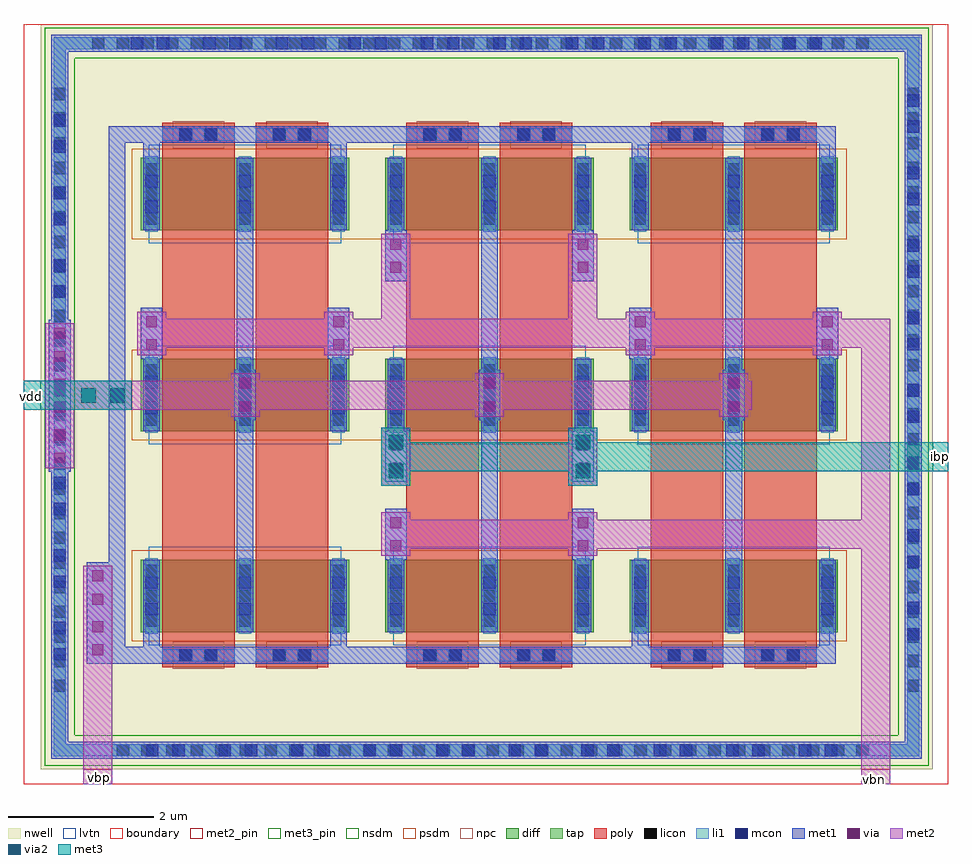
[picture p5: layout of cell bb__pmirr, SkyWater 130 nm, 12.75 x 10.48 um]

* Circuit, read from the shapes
.subckt bb__pmirr ibp vbn vbp vdd
XM1 vdd vbp vbp vdd sky130_fd_pr__pfet_01v8_lvt w=1 l=1 m=8
XM2 vdd vbp vbn vdd sky130_fd_pr__pfet_01v8_lvt w=1 l=1 m=8
XM3 vdd vbp ibp vdd sky130_fd_pr__pfet_01v8_lvt w=1 l=1 m=2
.ends

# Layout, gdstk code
from math import pi, radians
import gdstk
lib = gdstk.Library(unit=1e-6, precision=1e-09)
def R(c, l, rs):  # rectangles x0, y0, x1, y1
    for r in rs: c.add(gdstk.rectangle(r[:2], r[2:], *l))
def A(c, l, x, y, w, h, nx, ny, dx, dy):  # array of equal rectangles
    R(c, l, [(x+i*dx, y+j*dy, x+i*dx+w, y+j*dy+h) for i in range(nx) for j in range(ny)])
nwell = (64, 20)
diff = (65, 20)
tap = (65, 44)
poly = (66, 20)
licon = (66, 44)
li1 = (67, 20)
mcon = (67, 44)
met1 = (68, 20)
via = (68, 44)
met2_pin = (69, 16)
met2 = (69, 20)
via2 = (69, 44)
met3_pin = (70, 16)
met3 = (70, 20)
nsdm = (93, 44)
psdm = (94, 20)
npc = (95, 20)
lvtn = (125, 44)
boundary = (235, 4)

via__li_m1 = lib.new_cell('via__LI_M1')
R(via__li_m1, li1, [(0.03,0.03,0.56,0.2)])
R(via__li_m1, mcon, [(0.03,0.03,0.2,0.2), (0.39,0.03,0.56,0.2)])
R(via__li_m1, met1, [(0,0,0.59,0.23)])

bbp__m5 = lib.new_cell('bbp__M5')
R(bbp__m5, nwell, [(-0.97,-0.99,0.97,0.82)])
R(bbp__m5, diff, [(-0.79,-0.68,0.79,0.32)])
R(bbp__m5, poly, [(-0.5,-0.81,0.5,0.805)])
A(bbp__m5, licon, -0.73, -0.605, 0.17, 0.17, 1, 3, 0, 0.34)
A(bbp__m5, licon, 0.56, -0.605, 0.17, 0.17, 1, 3, 0, 0.34)
R(bbp__m5, licon, [(-0.255,0.555,-0.085,0.725), (0.085,0.555,0.255,0.725)])
R(bbp__m5, li1, [(-0.73,-0.7,-0.56,0.34), (0.56,-0.7,0.73,0.34), (-0.5,0.555,0.5,0.725)])
R(bbp__m5, mcon, [(-0.73,-0.445,-0.56,-0.275), (0.56,-0.445,0.73,-0.275), (-0.73,-0.085,-0.56,0.085), (0.56,-0.085,0.73,0.085), (-0.265,0.555,-0.095,0.725), (0.095,0.555,0.265,0.725)])
R(bbp__m5, met1, [(-0.76,-0.68,-0.53,0.32), (0.53,-0.68,0.76,0.32), (-0.48,0.525,0.48,0.755)])
R(bbp__m5, psdm, [(-0.915,-0.805,0.915,0.445)])
R(bbp__m5, npc, [(-0.355,0.455,0.355,0.825)])
R(bbp__m5, lvtn, [(-0.68,-0.86,0.68,0.5)])

bbp__guardring_p = lib.new_cell('bbp__Guardring_P')
R(bbp__guardring_p, nwell, [(0.23,0.35,12.53,10.63)])
A(bbp__guardring_p, licon, 1.28, 0.53, 0.17, 0.17, 31, 1, 0.34, 0)
A(bbp__guardring_p, licon, 0.41, 1.42, 0.17, 0.17, 1, 25, 0, 0.34)
A(bbp__guardring_p, licon, 12.18, 1.42, 0.17, 0.17, 1, 25, 0, 0.34)
A(bbp__guardring_p, licon, 0.94, 10.28, 0.17, 0.17, 32, 1, 0.34, 0)
bbp__guardring_p.add(gdstk.FlexPath([(0.41,10.365),(12.265,10.365),(12.265,0.615),(0.495,0.615),(0.495,10.365)], 0.17, ends="flush", simple_path=True, layer=67, datatype=20))  # li1
bbp__guardring_p.add(gdstk.FlexPath([(0.285,10.365),(12.265,10.365),(12.265,0.615),(0.495,0.615),(0.495,10.365)], 0.42, ends="flush", simple_path=True, layer=93, datatype=44))  # nsdm
bbp__guardring_p.add(gdstk.FlexPath([(0.41,10.365),(12.265,10.365),(12.265,0.615),(0.495,0.615),(0.495,10.365)], 0.17, ends="flush", simple_path=True, layer=65, datatype=44))  # tap
bbp__guardring_p.add(gdstk.FlexPath([(0.23,10.365),(12.265,10.365),(12.265,0.615),(0.495,0.615),(0.495,10.365)], 0.53, ends="flush", simple_path=True, layer=64, datatype=20))  # nwell

via__m2_m3 = lib.new_cell('via__M2_M3')
R(via__m2_m3, met2, [(0,0,0.8,0.4)])
R(via__m2_m3, via2, [(0.1,0.1,0.3,0.3), (0.1,0.1,0.3,0.3), (0.5,0.1,0.7,0.3), (0.5,0.1,0.7,0.3)])
R(via__m2_m3, met3, [(0,0,0.8,0.4)])

bbp__m4_nc = lib.new_cell('bbp__M4_nc')
R(bbp__m4_nc, nwell, [(-0.97,-0.99,0.97,0.63)])
R(bbp__m4_nc, diff, [(-0.79,-0.68,0.79,0.32)])
R(bbp__m4_nc, poly, [(-0.5,-0.81,0.5,0.45)])
A(bbp__m4_nc, licon, -0.73, -0.605, 0.17, 0.17, 1, 3, 0, 0.34)
A(bbp__m4_nc, licon, 0.56, -0.605, 0.17, 0.17, 1, 3, 0, 0.34)
R(bbp__m4_nc, li1, [(-0.73,-0.7,-0.56,0.34), (0.56,-0.7,0.73,0.34)])
R(bbp__m4_nc, mcon, [(-0.73,-0.445,-0.56,-0.275), (0.56,-0.445,0.73,-0.275), (-0.73,-0.085,-0.56,0.085), (0.56,-0.085,0.73,0.085)])
R(bbp__m4_nc, met1, [(-0.76,-0.68,-0.53,0.32), (0.53,-0.68,0.76,0.32)])
R(bbp__m4_nc, psdm, [(-0.915,-0.805,0.915,0.445)])
R(bbp__m4_nc, lvtn, [(-0.68,-0.86,0.68,0.5)])

bbp__m4 = lib.new_cell('bbp__M4')
R(bbp__m4, nwell, [(-0.97,-0.99,0.97,0.82)])
R(bbp__m4, diff, [(-0.79,-0.68,0.79,0.32)])
R(bbp__m4, poly, [(-0.5,-0.81,0.5,0.805)])
A(bbp__m4, licon, -0.73, -0.605, 0.17, 0.17, 1, 3, 0, 0.34)
A(bbp__m4, licon, 0.56, -0.605, 0.17, 0.17, 1, 3, 0, 0.34)
R(bbp__m4, licon, [(-0.255,0.555,-0.085,0.725), (0.085,0.555,0.255,0.725)])
R(bbp__m4, li1, [(-0.73,-0.7,-0.56,0.34), (0.56,-0.7,0.73,0.34), (-0.5,0.555,0.5,0.725)])
R(bbp__m4, mcon, [(-0.73,-0.445,-0.56,-0.275), (0.56,-0.445,0.73,-0.275), (-0.73,-0.085,-0.56,0.085), (0.56,-0.085,0.73,0.085), (-0.265,0.555,-0.095,0.725), (0.095,0.555,0.265,0.725)])
R(bbp__m4, met1, [(-0.76,-0.68,-0.53,0.32), (0.53,-0.68,0.76,0.32), (-0.48,0.525,0.48,0.755)])
R(bbp__m4, psdm, [(-0.915,-0.805,0.915,0.445)])
R(bbp__m4, npc, [(-0.355,0.455,0.355,0.825)])
R(bbp__m4, lvtn, [(-0.68,-0.86,0.68,0.5)])

bbp__m6 = lib.new_cell('bbp__M6')
R(bbp__m6, nwell, [(-0.97,-0.99,0.97,0.63)])
R(bbp__m6, diff, [(-0.79,-0.68,0.79,0.32)])
R(bbp__m6, poly, [(-0.5,-0.81,0.5,0.45)])
A(bbp__m6, licon, -0.73, -0.605, 0.17, 0.17, 1, 3, 0, 0.34)
A(bbp__m6, licon, 0.56, -0.605, 0.17, 0.17, 1, 3, 0, 0.34)
R(bbp__m6, li1, [(-0.73,-0.7,-0.56,0.34), (0.56,-0.7,0.73,0.34)])
R(bbp__m6, mcon, [(-0.73,-0.445,-0.56,-0.275), (0.56,-0.445,0.73,-0.275), (-0.73,-0.085,-0.56,0.085), (0.56,-0.085,0.73,0.085)])
R(bbp__m6, met1, [(-0.76,-0.68,-0.53,0.32), (0.53,-0.68,0.76,0.32)])
R(bbp__m6, psdm, [(-0.915,-0.805,0.915,0.445)])
R(bbp__m6, lvtn, [(-0.68,-0.86,0.68,0.5)])

via__m1_m2 = lib.new_cell('via__M1_M2')
R(via__m1_m2, met1, [(0,0.05,0.7,0.35)])
R(via__m1_m2, via, [(0.115,0.125,0.265,0.275), (0.435,0.125,0.585,0.275)])
R(via__m1_m2, met2, [(0.05,0,0.65,0.4)])

bb__pmirr = lib.new_cell('bb__pmirr')
R(bb__pmirr, poly, [(1.905,1.965,2.905,9.12), (3.195,1.965,4.195,9.12), (5.275,1.965,6.275,9.12), (6.565,1.965,7.565,9.12), (8.645,1.965,9.645,9.12), (9.935,1.965,10.935,9.12)])
R(bb__pmirr, met1, [(1.645,1.89,1.875,2.095), (4.225,1.89,4.455,2.095), (8.385,1.89,8.615,2.095), (10.965,1.89,11.195,2.095), (1.645,8.635,1.875,8.84), (4.225,8.635,4.455,8.84), (8.385,8.635,8.615,8.84), (10.965,8.635,11.195,8.84)])
R(bb__pmirr, met2_pin, [(0.82,0,1.22,0.2), (11.545,0,11.945,0.2)])
R(bb__pmirr, met2, [(0.295,4.355,0.695,6.355)])
R(bb__pmirr, met3_pin, [(12.53,4.315,12.745,4.715), (0,5.16,0.23,5.56)])
R(bb__pmirr, met3, [(0,5.16,1.49,5.56)])
A(bb__pmirr, psdm, 1.49, 1.97, 9.86, 1.25, 1, 3, 0, 2.77)
R(bb__pmirr, boundary, [(0,0,12.745,10.48)])
bb__pmirr.add(gdstk.FlexPath([(11.08,8.955),(1.285,8.955)], 0.23, ends="extended", simple_path=True, layer=68, datatype=20))  # met1
bb__pmirr.add(gdstk.FlexPath([(11.08,1.775),(1.285,1.775)], 0.23, ends="extended", simple_path=True, layer=68, datatype=20))  # met1
bb__pmirr.add(gdstk.FlexPath([(0.495,10.215),(12.265,10.215),(12.265,0.465),(0.495,0.465),(0.495,10.215)], 0.23, ends="extended", simple_path=True, layer=68, datatype=20))  # met1
bb__pmirr.add(gdstk.FlexPath([(9.79,8.52),(9.79,2.34)], 0.23, ends="extended", simple_path=True, layer=68, datatype=20))  # met1
bb__pmirr.add(gdstk.FlexPath([(6.42,8.52),(6.42,2.34)], 0.23, ends="extended", simple_path=True, layer=68, datatype=20))  # met1
bb__pmirr.add(gdstk.FlexPath([(3.05,8.52),(3.05,2.34)], 0.23, ends="extended", simple_path=True, layer=68, datatype=20))  # met1
bb__pmirr.add(gdstk.FlexPath([(1.285,8.955),(1.285,1.775)], 0.23, ends="extended", simple_path=True, layer=68, datatype=20))  # met1
bb__pmirr.add(gdstk.FlexPath([(5.13,4.515),(12.545,4.515)], 0.4, ends="extended", simple_path=True, layer=70, datatype=20))  # met3
bb__pmirr.add(gdstk.FlexPath([(11.745,6.215),(1.76,6.215)], 0.4, ends="extended", simple_path=True, layer=69, datatype=20))  # met2
bb__pmirr.add(gdstk.FlexPath([(1.02,2.81),(1.02,0.2)], 0.4, ends="extended", simple_path=True, layer=69, datatype=20))  # met2
bb__pmirr.add(gdstk.FlexPath([(11.745,6.215),(11.745,0.2)], 0.4, ends="extended", simple_path=True, layer=69, datatype=20))  # met2
bb__pmirr.add(gdstk.FlexPath([(7.71,6.215),(7.71,7.385)], 0.4, ends="extended", simple_path=True, layer=69, datatype=20))  # met2
bb__pmirr.add(gdstk.FlexPath([(11.745,3.445),(5.13,3.445)], 0.4, ends="extended", simple_path=True, layer=69, datatype=20))  # met2
bb__pmirr.add(gdstk.FlexPath([(5.13,6.215),(5.13,7.385)], 0.4, ends="extended", simple_path=True, layer=69, datatype=20))  # met2
bb__pmirr.add(gdstk.FlexPath([(0.495,5.36),(9.84,5.36)], 0.4, ends="extended", simple_path=True, layer=69, datatype=20))  # met2
bb__pmirr.add(gdstk.Reference(via__li_m1, (12.38,3.95), rotation=pi/2))
bb__pmirr.add(gdstk.Reference(via__li_m1, (12.38,2.95), rotation=pi/2))
bb__pmirr.add(gdstk.Reference(via__li_m1, (12.38,1.95), rotation=pi/2))
bb__pmirr.add(gdstk.Reference(via__li_m1, (10.655,0.35)))
bb__pmirr.add(gdstk.Reference(via__li_m1, (9.655,0.35)))
bb__pmirr.add(gdstk.Reference(via__li_m1, (8.655,0.35)))
bb__pmirr.add(gdstk.Reference(via__li_m1, (7.655,0.35)))
bb__pmirr.add(gdstk.Reference(via__li_m1, (6.655,0.35)))
bb__pmirr.add(gdstk.Reference(via__li_m1, (12.38,4.95), rotation=pi/2))
bb__pmirr.add(gdstk.Reference(via__li_m1, (0.38,4.265), rotation=3*pi/2))
bb__pmirr.add(gdstk.Reference(via__li_m1, (0.38,2.265), rotation=3*pi/2))
bb__pmirr.add(gdstk.Reference(via__li_m1, (5.655,0.35)))
bb__pmirr.add(gdstk.Reference(via__li_m1, (4.655,0.35)))
bb__pmirr.add(gdstk.Reference(via__li_m1, (0.38,3.265), rotation=3*pi/2))
bb__pmirr.add(gdstk.Reference(via__li_m1, (3.655,0.35)))
bb__pmirr.add(gdstk.Reference(via__li_m1, (2.655,0.35)))
bb__pmirr.add(gdstk.Reference(via__li_m1, (1.655,0.35)))
bb__pmirr.add(gdstk.Reference(via__li_m1, (0.38,5.265), rotation=3*pi/2))
bb__pmirr.add(gdstk.Reference(via__li_m1, (0.38,7.265), rotation=3*pi/2))
bb__pmirr.add(gdstk.Reference(via__li_m1, (0.38,6.265), rotation=3*pi/2))
bb__pmirr.add(gdstk.Reference(via__li_m1, (0.38,8.265), rotation=3*pi/2))
bb__pmirr.add(gdstk.Reference(via__li_m1, (0.38,9.265), rotation=3*pi/2))
bb__pmirr.add(gdstk.Reference(via__li_m1, (2.035,10.33), rotation=pi))
bb__pmirr.add(gdstk.Reference(via__li_m1, (3.035,10.33), rotation=pi))
bb__pmirr.add(gdstk.Reference(via__li_m1, (4.035,10.33), rotation=pi))
bb__pmirr.add(gdstk.Reference(via__li_m1, (5.035,10.33), rotation=pi))
bb__pmirr.add(gdstk.Reference(via__li_m1, (6.035,10.33), rotation=pi))
bb__pmirr.add(gdstk.Reference(via__li_m1, (7.035,10.33), rotation=pi))
bb__pmirr.add(gdstk.Reference(via__li_m1, (8.035,10.33), rotation=pi))
bb__pmirr.add(gdstk.Reference(via__li_m1, (9.035,10.33), rotation=pi))
bb__pmirr.add(gdstk.Reference(via__li_m1, (10.035,10.33), rotation=pi))
bb__pmirr.add(gdstk.Reference(via__li_m1, (11.035,10.33), rotation=pi))
bb__pmirr.add(gdstk.Reference(via__li_m1, (12.38,8.95), rotation=pi/2))
bb__pmirr.add(gdstk.Reference(via__li_m1, (12.38,7.95), rotation=pi/2))
bb__pmirr.add(gdstk.Reference(via__li_m1, (12.38,6.95), rotation=pi/2))
bb__pmirr.add(gdstk.Reference(bbp__m5, (2.405,8.315)))
bb__pmirr.add(gdstk.Reference(via__li_m1, (12.38,5.95), rotation=pi/2))
bb__pmirr.add(gdstk.Reference(bbp__guardring_p, (0,-0.15)))
bb__pmirr.add(gdstk.Reference(via__m2_m3, (7.51,4.915), rotation=3*pi/2))
bb__pmirr.add(gdstk.Reference(via__m2_m3, (0.69,5.16)))
bb__pmirr.add(gdstk.Reference(via__m2_m3, (4.93,4.915), rotation=3*pi/2))
bb__pmirr.add(gdstk.Reference(bbp__m4_nc, (2.405,5.545)))
bb__pmirr.add(gdstk.Reference(bbp__m5, (10.435,2.415), x_reflection=True))
bb__pmirr.add(gdstk.Reference(bbp__m5, (9.145,2.415), x_reflection=True))
bb__pmirr.add(gdstk.Reference(bbp__m4, (7.065,2.415), x_reflection=True))
bb__pmirr.add(gdstk.Reference(bbp__m4, (5.775,2.415), x_reflection=True))
bb__pmirr.add(gdstk.Reference(bbp__m5, (3.695,2.415), x_reflection=True))
bb__pmirr.add(gdstk.Reference(bbp__m5, (2.405,2.415), x_reflection=True))
bb__pmirr.add(gdstk.Reference(bbp__m4_nc, (9.145,5.545)))
bb__pmirr.add(gdstk.Reference(bbp__m4_nc, (10.435,5.545)))
bb__pmirr.add(gdstk.Reference(bbp__m6, (5.775,5.545)))
bb__pmirr.add(gdstk.Reference(bbp__m6, (7.065,5.545)))
bb__pmirr.add(gdstk.Reference(bbp__m4_nc, (3.695,5.545)))
bb__pmirr.add(gdstk.Reference(bbp__m5, (3.695,8.315)))
bb__pmirr.add(gdstk.Reference(bbp__m4, (5.775,8.315)))
bb__pmirr.add(gdstk.Reference(bbp__m4, (7.065,8.315)))
bb__pmirr.add(gdstk.Reference(bbp__m5, (9.145,8.315)))
bb__pmirr.add(gdstk.Reference(bbp__m5, (10.435,8.315)))
bb__pmirr.add(gdstk.Reference(via__m1_m2, (3.25,5.715), rotation=3*pi/2, x_reflection=True))
bb__pmirr.add(gdstk.Reference(via__m1_m2, (6.62,5.715), rotation=3*pi/2, x_reflection=True))
bb__pmirr.add(gdstk.Reference(via__m1_m2, (9.99,5.715), rotation=3*pi/2, x_reflection=True))
bb__pmirr.add(gdstk.Reference(via__m1_m2, (0.82,1.66), rotation=pi/2, x_reflection=True))
bb__pmirr.add(gdstk.Reference(via__m1_m2, (0.82,2.36), rotation=pi/2, x_reflection=True))
bb__pmirr.add(gdstk.Reference(via__m1_m2, (5.33,6.935), rotation=pi/2))
bb__pmirr.add(gdstk.Reference(via__m1_m2, (7.91,6.935), rotation=pi/2))
bb__pmirr.add(gdstk.Reference(via__m1_m2, (1.96,5.865), rotation=pi/2))
bb__pmirr.add(gdstk.Reference(via__m1_m2, (4.54,5.865), rotation=pi/2))
bb__pmirr.add(gdstk.Reference(via__m1_m2, (5.33,3.095), rotation=pi/2))
bb__pmirr.add(gdstk.Reference(via__m1_m2, (7.91,3.095), rotation=pi/2))
bb__pmirr.add(gdstk.Reference(via__m1_m2, (8.7,5.865), rotation=pi/2))
bb__pmirr.add(gdstk.Reference(via__m1_m2, (0.695,4.305), rotation=pi/2))
bb__pmirr.add(gdstk.Reference(via__m1_m2, (0.695,5.005), rotation=pi/2))
bb__pmirr.add(gdstk.Reference(via__m1_m2, (11.28,5.865), rotation=pi/2))
bb__pmirr.add(gdstk.Reference(via__m1_m2, (0.695,5.705), rotation=pi/2))
bb__pmirr.add(gdstk.Reference(via__m1_m2, (5.33,4.165), rotation=pi/2))
bb__pmirr.add(gdstk.Reference(via__m1_m2, (7.91,4.165), rotation=pi/2))
bb__pmirr.add(gdstk.Label('vbn', (11.735,0.065), layer=69, texttype=16))
bb__pmirr.add(gdstk.Label('vbp', (1.045,0.085), layer=69, texttype=16))
bb__pmirr.add(gdstk.Label('ibp', (12.635,4.515), layer=70, texttype=16))
bb__pmirr.add(gdstk.Label('vdd', (0.105,5.35), layer=70, texttype=16))

lib.write_gds('bb__pmirr.gds')
